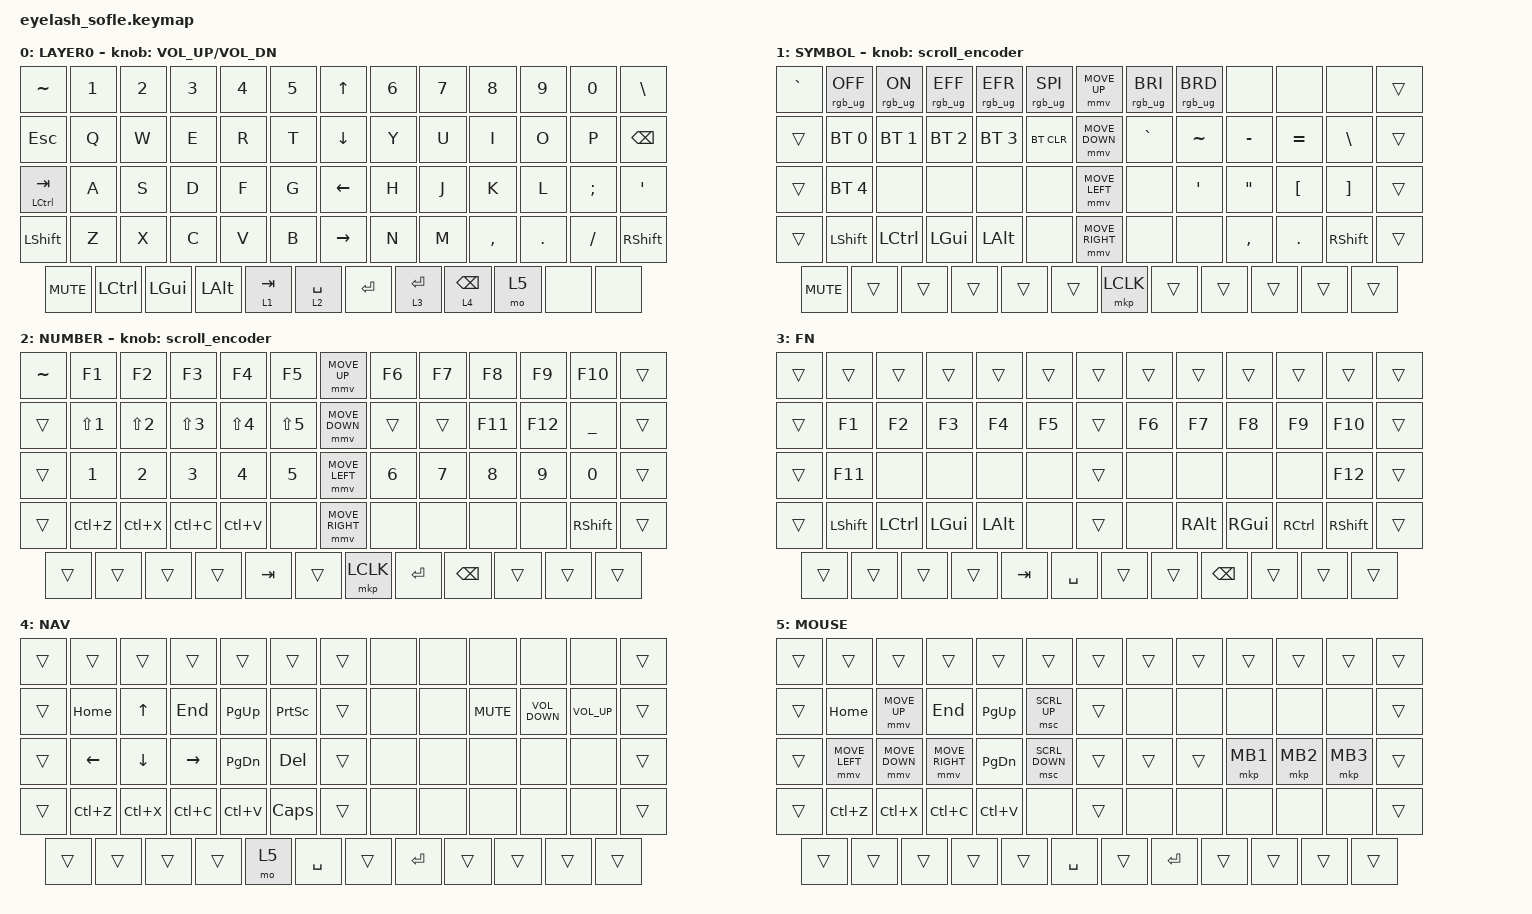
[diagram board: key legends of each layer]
#define ZMK_POINTING_DEFAULT_MOVE_VAL 2500  // 600
#define ZMK_POINTING_DEFAULT_SCRL_VAL 25   // 10

#include <input/processors.dtsi>
#include <zephyr/dt-bindings/input/input-event-codes.h>
#include <behaviors.dtsi>
#include <dt-bindings/zmk/bt.h>
#include <dt-bindings/zmk/ext_power.h>
#include <dt-bindings/zmk/keys.h>
#include <dt-bindings/zmk/pointing.h>
#include <dt-bindings/zmk/rgb.h>
#include <dt-bindings/zmk/outputs.h>

&mmv_input_listener { input-processors = <&zip_xy_scaler 2 1>; };

&msc_input_listener { input-processors = <&zip_scroll_scaler 2 1>; };

&msc {
    acceleration-exponent = <1>;      // 0
    time-to-max-speed-ms = <100>;       // 300
    delay-ms = <0>;                   // 0
};

&mmv {
    time-to-max-speed-ms = <1500>;
    acceleration-exponent = <1>;
    trigger-period-ms = <16>;
};


/ {
    behaviors {
        hml: home_row_mod_left {
            compatible = "zmk,behavior-hold-tap";
            flavor = "balanced";
            require-prior-idle-ms = <150>;
            tapping-term-ms = <280>;
            quick-tap-ms = <175>;
            #binding-cells = <2>;
            bindings = <&kp>, <&kp>;
        };

        hmr: home_row_mod_right {
            compatible = "zmk,behavior-hold-tap";
            flavor = "balanced";
            require-prior-idle-ms = <150>;
            tapping-term-ms = <280>;
            quick-tap-ms = <175>;
            #binding-cells = <2>;
            bindings = <&kp>, <&kp>;
        };

        ht: hold_tap {
            label = "hold_tap";
            compatible = "zmk,behavior-hold-tap";
            flavor = "balanced";
            tapping-term-ms = <180>;
            quick-tap-ms = <150>;
            global-quick-tap;
            #binding-cells = <2>;
            bindings = <&kp>, <&kp>;
        };
    };


    scroll_encoder: scroll_encoder {
        compatible = "zmk,behavior-sensor-rotate";
        #sensor-binding-cells = <0>;
        bindings = <&msc SCRL_DOWN>, <&msc SCRL_UP>;
        tap-ms = <100>;
    };

    combos {
        compatible = "zmk,combos";

        esc1 {
            bindings = <&kp ESCAPE>;
            key-positions = <15 16>;
        };

        bkk {
            bindings = <&kp BACKSPACE>;
            key-positions = <21 22>;
        };

        altl {
            bindings = <&kp LEFT_ALT>;
            key-positions = <40 41>;
        };

        altr {
            bindings = <&kp RIGHT_ALT>;
            key-positions = <48 49>; 
        };

        guil {
            bindings = <&kp LEFT_GUI>;
            key-positions = <27 28>;
        };

        guir {
            bindings = <&kp RIGHT_GUI>;
            key-positions = <32 33>;
        };

        delc {
            bindings = <&kp DELETE>;
            key-positions = <22 23>;
        };
    };
    keymap {
        compatible = "zmk,keymap";

        layer0 {
            bindings = <
&kp TILDE     &kp N1     &kp N2        &kp N3        &kp N4  &kp N5       &kp UP_ARROW     &kp N6     &kp N7     &kp N8     &kp N9           &kp N0      &kp BSLH
&kp ESC     &kp Q      &kp W         &kp E         &kp R   &kp T        &kp DOWN_ARROW   &kp Y      &kp U      &kp I      &kp O            &kp P       &kp BACKSPACE
&ht LCTRL TAB    &kp A      &kp S         &kp D         &kp F   &kp G        &kp LEFT_ARROW   &kp H      &kp J      &kp K      &kp L            &kp SEMI    &kp APOS
&kp LSHFT   &kp Z      &kp X         &kp C         &kp V   &kp B        &kp RIGHT_ARROW  &kp N      &kp M      &kp COMMA  &kp DOT          &kp FSLH    &kp RSHFT
&kp C_MUTE  &kp LCTRL  &kp LEFT_GUI  &kp LEFT_ALT  &lt 1 TAB  &lt 2  SPACE    &kp ENTER        &lt 3 ENTER  &lt 4 BACKSPACE  &mo 5      &none  &none
            >;

            sensor-bindings = <&inc_dec_kp C_VOLUME_UP C_VOL_DN>;
            display-name = "LAYER0";
        };

        layer_1 {
            bindings = <
&kp GRAVE   &rgb_ug RGB_OFF  &rgb_ug RGB_ON  &rgb_ug RGB_EFF  &rgb_ug RGB_EFR  &rgb_ug RGB_SPI             &mmv MOVE_UP     &rgb_ug RGB_BRI  &rgb_ug RGB_BRD           &none      &none     &none           &trans
&trans      &bt BT_SEL 0  &bt BT_SEL 1     &bt BT_SEL 2  &bt BT_SEL 3  &bt BT_CLR           &mmv MOVE_DOWN    &kp GRAVE  &kp TILDE         &kp MINUS          &kp EQUAL  &kp BSLH         &trans
&trans      &bt BT_SEL 4  &none  &none         &none         &none            &mmv MOVE_LEFT   &none      &kp SINGLE_QUOTE  &kp DOUBLE_QUOTES  &kp LBKT   &kp RBKT  &trans
&trans      &kp LSHFT     &kp LCTRL        &kp LEFT_GUI  &kp LEFT_ALT  &none     &mmv MOVE_RIGHT  &none      &none             &kp COMMA          &kp DOT    &kp RSHFT           &trans
&kp C_MUTE  &trans           &trans          &trans           &trans           &trans             &mkp LCLK        &trans           &trans           &trans      &trans     &trans
            >;

            display-name = "SYMBOL";
            sensor-bindings = <&scroll_encoder>;
        };

        layer_2 {
            bindings = <
&kp TILDE  &kp F1           &kp F2          &kp F3           &kp F4           &kp F5    &mmv MOVE_UP     &kp F6  &kp F7  &kp F8      &kp F9     &kp F10      &trans
&trans     &kp LS(N1)  &kp LS(N2)  &kp LS(N3)  &kp LS(N4)  &kp LS(N5)          &mmv MOVE_DOWN   &trans  &trans  &kp F11     &kp F12    &kp UNDER    &trans
&trans     &kp N1      &kp N2      &kp N3      &kp N4      &kp N5          &mmv MOVE_LEFT   &kp N6      &kp N7      &kp N8      &kp N9      &kp N0     &trans
&trans     &kp LC(Z)   &kp LC(X)   &kp LC(C)   &kp LC(V)   &none           &mmv MOVE_RIGHT  &none       &none       &none       &none       &kp RSHFT  &trans
&trans     &trans        &trans          &trans        &kp TAB        &trans          &mkp LCLK        &kp ENTER   &kp BSPC  &trans      &trans     &trans
            >;
            display-name = "NUMBER";
            sensor-bindings = <&scroll_encoder>;
        };

        layer_3 {
            bindings = <
&trans  &trans  &trans  &trans  &trans  &trans    &trans  &trans  &trans    &trans    &trans     &trans  &trans
&trans  &kp F1     &kp F2     &kp F3    &kp F4    &kp F5    &trans  &kp F6  &kp F7    &kp F8    &kp F9     &kp F10  &trans
&trans  &kp F11    &none      &none     &none     &none    &trans  &none   &none     &none     &none      &kp F12  &trans
&trans  &kp LSHFT  &kp LCTRL  &kp LGUI  &kp LALT  &none    &trans  &none   &kp RALT  &kp RGUI  &kp RCTRL  &kp RSHFT  &trans
&trans  &trans  &trans  &trans  &kp TAB   &kp SPACE   &trans  &trans  &kp BSPC  &trans  &trans  &trans
            >;
            display-name = "FN";
        };
        layer_4 {
            bindings = <
&trans  &trans  &trans  &trans  &trans  &trans    &trans  &none      &none   &none       &none              &none  &trans
&trans  &kp HOME   &kp UP     &kp END    &kp PG_UP  &kp PRINTSCREEN    &trans  &none      &none   &kp K_MUTE  &kp C_VOLUME_DOWN  &kp C_VOLUME_UP  &trans
&trans  &kp LEFT   &kp DOWN   &kp RIGHT  &kp PG_DN  &kp DELETE      &trans  &none      &none   &none       &none              &none  &trans
&trans  &kp LC(Z)  &kp LC(X)  &kp LC(C)  &kp LC(V)  &kp CAPS    &trans  &none      &none   &none       &none              &none  &trans
&trans  &trans  &trans  &trans  &mo 5      &kp SPACE    &trans  &kp ENTER  &trans  &trans  &trans  &trans
            >;
            display-name = "NAV";
        };
        layer_5 {
            bindings = <
&trans  &trans  &trans  &trans  &trans  &trans    &trans  &trans  &trans  &trans  &trans  &trans  &trans
&trans  &kp HOME        &mmv MOVE_UP    &kp END          &kp PG_UP  &msc SCRL_UP     &trans  &none      &none   &none       &none              &none  &trans
&trans  &mmv MOVE_LEFT  &mmv MOVE_DOWN  &mmv MOVE_RIGHT  &kp PG_DN  &msc SCRL_DOWN    &trans  &trans  &trans  &mkp MB1  &mkp MB2  &mkp MB3  &trans
&trans  &kp LC(Z)       &kp LC(X)       &kp LC(C)        &kp LC(V)  &none    &trans  &none      &none   &none       &none              &none   &trans
&trans  &trans  &trans  &trans  &trans     &kp SPACE    &trans  &kp ENTER  &trans  &trans  &trans  &trans
            >;
            display-name = "MOUSE";
        };
    };
};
